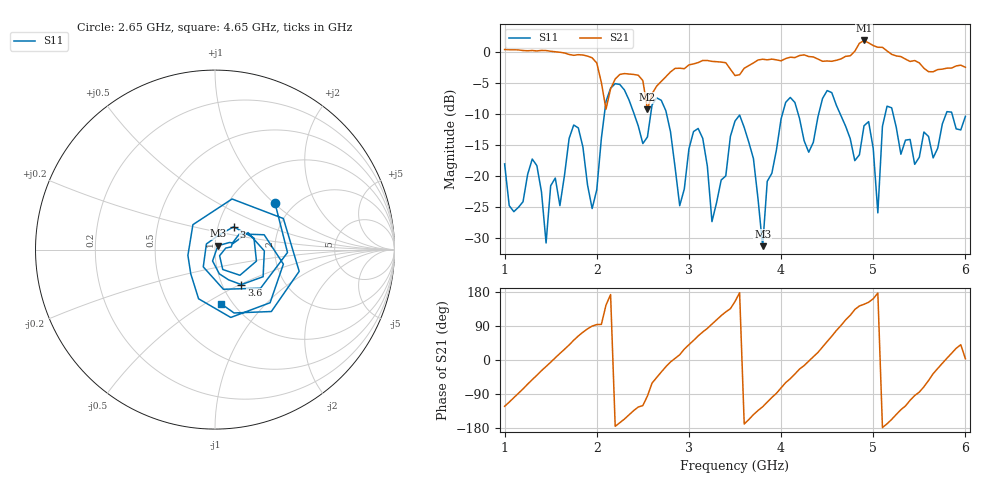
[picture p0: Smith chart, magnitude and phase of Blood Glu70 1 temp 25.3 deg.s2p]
! NanoVNA-App
! Date: 2024-03-21 12:58:53
! Start: 1GHz Stop: 6GHz Points: 101
! S-Parameter data: F S11 S21 S12 S22
# Hz S RI R 50
!	Frequency	S11_Real	S11_Imag	S21_Real	S21_Imag	S12_Real	S12_Imag	S22_Real	S22_Imag
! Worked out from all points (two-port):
!   101 points, 1 GHz to 6 GHz, reference 50 ohm
!   highest |S21| = 1.78 dB at 4.9 GHz (marker M1); lowest = -9.3 dB at 2.55 GHz (marker M2)
!   |S21| within 3 dB of the highest: start of sweep to 1.962 GHz; 4.645 GHz to 5.349 GHz (703.9 MHz wide, 14.1 % of centre)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
!   lowest |S11| = -31.4 dB at 3.8 GHz (marker M3), VSWR 1.06, Z = 51.6 + j2.23 ohm
!   |S11| at or under -10 dB: start of sweep to 2.084 GHz; 2.757 GHz to 4.016 GHz (1.26 GHz wide, 37.2 % of centre); 5.215 GHz to 5.792 GHz (577.6 MHz wide, 10.5 % of centre)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
!   S12 and S22 are empty: the file has one direction only
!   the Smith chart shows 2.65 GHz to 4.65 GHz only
!   S11 on the Smith chart (normalised r, x): 2.65 GHz: 1.61, +1.02; 3 GHz: 1.19, +0.31; 3.6 GHz: 1.23, -0.51; 4.65 GHz: 0.89, -0.59
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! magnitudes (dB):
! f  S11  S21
! 1 GHz  -18.1  0.3
! 1.35 GHz  -18.4  0.1
! 1.45 GHz  -30.9  0.2
! 1.85 GHz  -15.4  -0.6
! 1.95 GHz  -25.3  -1.0
! 2.15 GHz  -5.9  -6.0
! 2.55 GHz  -13.8  -9.3
! 2.65 GHz  -7.5  -5.6
! 2.7 GHz  -7.9  -4.8
! 2.9 GHz  -24.8  -2.7
! 3 GHz  -15.7  -2.2
! 3.25 GHz  -27.4  -1.6
! 3.5 GHz  -11.2  -3.9
! 3.6 GHz  -12.2  -2.7
! 3.8 GHz  -31.4  -1.2
! 4.05 GHz  -8.2  -1.1
! 4.35 GHz  -14.6  -0.9
! 4.65 GHz  -10.3  -1.2
! 4.9 GHz  -12.0  1.8
! 5.05 GHz  -26.0  0.7
! 5.2 GHz  -9.1  -0.5
! 6 GHz  -10.5  -2.5
